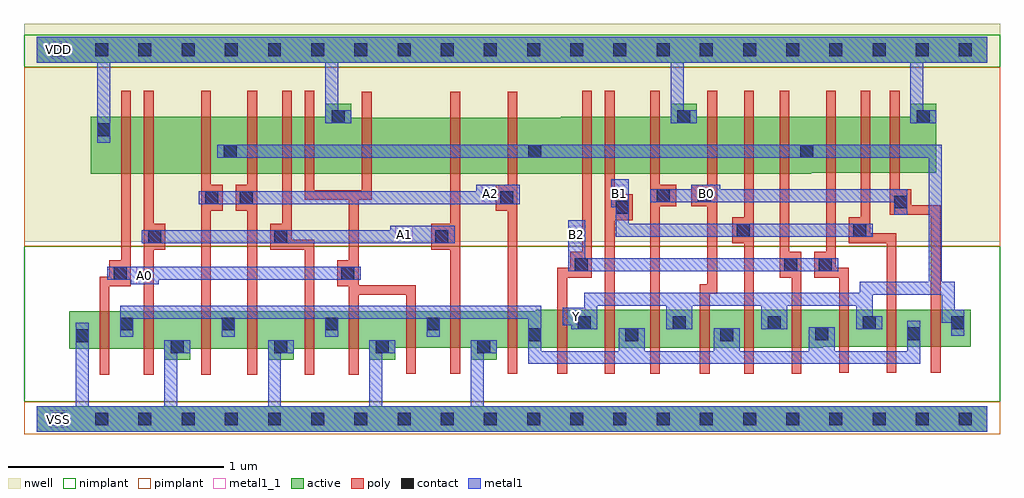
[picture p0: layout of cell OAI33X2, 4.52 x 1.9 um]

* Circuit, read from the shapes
.subckt OAI33X2 A0 A1 A2 B0 B1 B2 VDD VSS Y
M1 n1 A0 VSS VSS nfet w=0.175u l=0.045u m=2
M2 VSS A1 n1 VSS nfet w=0.175u l=0.045u m=2
M3 n1 A2 VSS VSS nfet w=0.175u l=0.045u m=2
M4 n1 A0 VSS VSS nfet w=0.17u l=0.045u
M5 VSS A1 n1 VSS nfet w=0.17u l=0.045u
M6 n1 A2 VSS VSS nfet w=0.17u l=0.045u
M7 Y B2 n1 VSS nfet w=0.175u l=0.045u m=2
M8 n1 B1 Y VSS nfet w=0.175u l=0.045u m=2
M9 Y B0 n1 VSS nfet w=0.175u l=0.045u m=2
M10 Y B2 n1 VSS nfet w=0.17u l=0.045u
M11 n1 B1 Y VSS nfet w=0.17u l=0.045u
M12 Y B0 n1 VSS nfet w=0.17u l=0.045u
M13 n2 A0 VDD VDD pfet w=0.265u l=0.045u
M14 n3 A1 n2 VDD pfet w=0.265u l=0.045u
M15 Y A2 n3 VDD pfet w=0.265u l=0.045u
M16 n4 A2 Y VDD pfet w=0.265u l=0.045u
M17 n5 A1 n4 VDD pfet w=0.265u l=0.045u
M18 VDD A0 n5 VDD pfet w=0.265u l=0.045u
M19 n6 A0 VDD VDD pfet w=0.26u l=0.045u
M20 n7 A1 n6 VDD pfet w=0.26u l=0.045u
M21 Y A2 n7 VDD pfet w=0.26u l=0.045u
M22 n8 B2 Y VDD pfet w=0.265u l=0.045u
M23 n9 B1 n8 VDD pfet w=0.265u l=0.045u
M24 VDD B0 n9 VDD pfet w=0.265u l=0.045u
M25 n10 B0 VDD VDD pfet w=0.265u l=0.045u
M26 n11 B1 n10 VDD pfet w=0.265u l=0.045u
M27 Y B2 n11 VDD pfet w=0.265u l=0.045u
M28 n12 B2 Y VDD pfet w=0.26u l=0.045u
M29 n13 B1 n12 VDD pfet w=0.26u l=0.045u
M30 VDD B0 n13 VDD pfet w=0.26u l=0.045u
.ends

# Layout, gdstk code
import gdstk
lib = gdstk.Library(unit=1e-6, precision=5e-10)
def R(c, l, rs):  # rectangles x0, y0, x1, y1
    for r in rs: c.add(gdstk.rectangle(r[:2], r[2:], *l))
def A(c, l, x, y, w, h, nx, ny, dx, dy):  # array of equal rectangles
    R(c, l, [(x+i*dx, y+j*dy, x+i*dx+w, y+j*dy+h) for i in range(nx) for j in range(ny)])
def P(c, l, *ps):  # polygons
    for p in ps: c.add(gdstk.Polygon(p, *l))
active = (1, 0)
nwell = (2, 0)
poly = (3, 0)
nimplant = (4, 0)
pimplant = (5, 0)
contact = (6, 0)
metal1 = (7, 0)
metal1_1 = (7, 1)

oai33x2 = lib.new_cell('OAI33X2')
R(oai33x2, active, [(0,-0.06,4.4,0.06), (0,1.65,4.4,1.77)])
P(oai33x2, active, [(1.335,1.46),(1.455,1.46),(1.455,1.395),(2.425,1.395),(2.425,1.4),(2.935,1.4),(2.935,1.46),(3.055,1.46),(3.055,1.4),(4.045,1.4),(4.045,1.46),(4.165,1.46),(4.165,1.14),(3.585,1.14),(3.585,1.135),(0.25,1.135),(0.25,1.4),(1.335,1.4)],
  [(2.31,0.505),(4.325,0.505),(4.325,0.335),(3.64,0.335),(3.64,0.33),(2.13,0.33),(2.13,0.275),(2.01,0.275),(2.01,0.33),(1.66,0.33),(1.66,0.275),(1.54,0.275),(1.54,0.325),(1.19,0.325),(1.19,0.275),(1.07,0.275),(1.07,0.325),(0.71,0.325),(0.71,0.275),(0.59,0.275),(0.59,0.325),(0.15,0.325),(0.15,0.5),(2.31,0.5)])
R(oai33x2, nwell, [(-0.06,0.82,4.46,1.83)])
P(oai33x2, poly, [(0.39,1.52),(0.435,1.52),(0.435,0.615),(0.335,0.615),(0.335,0.205),(0.29,0.205),(0.29,0.66),(0.335,0.66),(0.335,0.735),(0.39,0.735)],
  [(0.495,1.52),(0.54,1.52),(0.54,0.905),(0.595,0.905),(0.595,0.785),(0.54,0.785),(0.54,0.205),(0.495,0.205)],
  [(0.76,1.52),(0.805,1.52),(0.805,1.085),(0.86,1.085),(0.86,0.965),(0.805,0.965),(0.805,0.205),(0.76,0.205)],
  [(0.975,1.52),(1.02,1.52),(1.02,0.205),(0.975,0.205),(0.975,0.965),(0.92,0.965),(0.92,1.085),(0.975,1.085)],
  [(1.135,1.52),(1.18,1.52),(1.18,0.83),(1.285,0.83),(1.285,0.205),(1.24,0.205),(1.24,0.785),(1.08,0.785),(1.08,0.905),(1.135,0.905)],
  [(1.24,1.52),(1.285,1.52),(1.285,1.06),(1.505,1.06),(1.505,1.515),(1.55,1.515),(1.55,1.015),(1.49,1.015),(1.49,0.62),(1.755,0.62),(1.755,0.21),(1.71,0.21),(1.71,0.575),(1.49,0.575),(1.49,0.205),(1.445,0.205),(1.445,0.615),(1.39,0.615),(1.39,0.735),(1.445,0.735),(1.445,1.015),(1.24,1.015)],
  [(1.915,1.515),(1.96,1.515),(1.96,0.21),(1.915,0.21),(1.915,0.785),(1.825,0.785),(1.825,0.905),(1.915,0.905)],
  [(2.18,1.515),(2.225,1.515),(2.225,0.21),(2.18,0.21),(2.18,0.965),(2.125,0.965),(2.125,1.085),(2.18,1.085)],
  [(2.525,1.52),(2.57,1.52),(2.57,0.655),(2.455,0.655),(2.455,0.21),(2.41,0.21),(2.41,0.7),(2.47,0.7),(2.47,0.775),(2.525,0.775)],
  [(2.63,1.52),(2.675,1.52),(2.675,1.04),(2.76,1.04),(2.76,0.92),(2.675,0.92),(2.675,0.21),(2.63,0.21)],
  [(2.84,1.52),(2.885,1.52),(2.885,1.085),(2.96,1.085),(2.96,0.985),(2.885,0.985),(2.885,0.21),(2.84,0.21)],
  [(3.105,1.52),(3.15,1.52),(3.15,0.58),(3.115,0.58),(3.115,0.21),(3.07,0.21),(3.07,0.625),(3.105,0.625),(3.105,0.985),(3.03,0.985),(3.03,1.085),(3.105,1.085)],
  [(3.275,1.52),(3.32,1.52),(3.32,0.21),(3.275,0.21),(3.275,0.815),(3.22,0.815),(3.22,0.935),(3.275,0.935)],
  [(3.44,1.52),(3.485,1.52),(3.485,0.775),(3.54,0.775),(3.54,0.21),(3.495,0.21),(3.495,0.655),(3.44,0.655)],
  [(3.655,1.52),(3.7,1.52),(3.7,0.7),(3.76,0.7),(3.76,0.215),(3.715,0.215),(3.715,0.655),(3.6,0.655),(3.6,0.775),(3.655,0.775)],
  [(3.815,1.52),(3.86,1.52),(3.86,0.86),(3.98,0.86),(3.98,0.215),(3.935,0.215),(3.935,0.815),(3.76,0.815),(3.76,0.935),(3.815,0.935)],
  [(3.95,1.52),(3.995,1.52),(3.995,1.065),(4.05,1.065),(4.05,0.99),(4.185,0.99),(4.185,0.215),(4.14,0.215),(4.14,0.945),(3.95,0.945)])
R(oai33x2, nimplant, [(-0.06,0.08,4.46,0.8), (-0.06,1.63,4.46,1.78)])
R(oai33x2, pimplant, [(-0.06,-0.07,4.46,0.08), (-0.06,0.8,4.46,1.63)])
A(oai33x2, contact, 0.07, -0.03, 0.06, 0.06, 22, 2, 0.2, 1.71)
A(oai33x2, contact, 1.1, 0.305, 0.06, 0.06, 3, 1, 0.47, 0)
A(oai33x2, contact, 2.505, 0.415, 0.06, 0.06, 4, 1, 0.44, 0)
R(oai33x2, contact, [(0.62,0.305,0.68,0.365), (0.18,0.355,0.24,0.415), (2.275,0.36,2.335,0.42), (2.725,0.36,2.785,0.42), (3.165,0.36,3.225,0.42), (3.605,0.365,3.665,0.425), (4.03,0.365,4.09,0.425), (0.385,0.41,0.445,0.47), (0.855,0.41,0.915,0.47), (1.335,0.41,1.395,0.47), (1.805,0.41,1.865,0.47), (4.235,0.415,4.295,0.475), (0.355,0.645,0.415,0.705), (1.41,0.645,1.47,0.705), (2.49,0.685,2.55,0.745), (3.46,0.685,3.52,0.745), (3.62,0.685,3.68,0.745), (0.515,0.815,0.575,0.875), (1.1,0.815,1.16,0.875), (1.845,0.815,1.905,0.875), (3.24,0.845,3.3,0.905), (3.78,0.845,3.84,0.905), (2.68,0.95,2.74,1.01), (3.97,0.975,4.03,1.035), (0.78,0.995,0.84,1.055), (0.94,0.995,1,1.055), (2.145,0.995,2.205,1.055), (2.87,1.005,2.93,1.065), (3.06,1.005,3.12,1.065), (0.865,1.21,0.925,1.27), (2.275,1.21,2.335,1.27), (3.535,1.21,3.595,1.27), (0.28,1.31,0.34,1.37), (1.365,1.37,1.425,1.43), (2.965,1.37,3.025,1.43), (4.075,1.37,4.135,1.43)])
P(oai33x2, metal1, [(0,1.77),(4.4,1.77),(4.4,1.65),(4.105,1.65),(4.105,1.43),(4.165,1.43),(4.165,1.37),(4.045,1.37),(4.045,1.65),(2.995,1.65),(2.995,1.43),(3.055,1.43),(3.055,1.37),(2.935,1.37),(2.935,1.65),(1.395,1.65),(1.395,1.43),(1.455,1.43),(1.455,1.37),(1.335,1.37),(1.335,1.65),(0.34,1.65),(0.34,1.28),(0.28,1.28),(0.28,1.65),(0,1.65)],
  [(0.835,1.27),(4.19,1.27),(4.19,0.635),(4.25,0.635),(4.25,0.505),(4.295,0.505),(4.295,0.385),(4.235,0.385),(4.235,0.445),(4.19,0.445),(4.19,0.575),(3.87,0.575),(3.87,0.475),(3.915,0.475),(3.915,0.415),(3.795,0.415),(3.795,0.525),(3.475,0.525),(3.475,0.415),(3.355,0.415),(3.355,0.525),(3.035,0.525),(3.035,0.415),(2.915,0.415),(2.915,0.525),(2.595,0.525),(2.595,0.415),(2.475,0.415),(2.475,0.435),(2.435,0.435),(2.435,0.515),(2.535,0.515),(2.535,0.585),(3.81,0.585),(3.81,0.635),(4.13,0.635),(4.13,1.21),(0.835,1.21)],
  [(2.66,1.11),(2.74,1.11),(2.74,0.905),(3.87,0.905),(3.87,0.845),(2.68,0.845),(2.68,0.98),(2.66,0.98)],
  [(2.035,1.085),(2.235,1.085),(2.235,0.995),(0.75,0.995),(0.75,1.055),(2.035,1.055)],
  [(3.03,1.085),(3.165,1.085),(3.165,1.065),(4.03,1.065),(4.03,0.945),(3.97,0.945),(3.97,1.005),(2.84,1.005),(2.84,1.065),(3.03,1.065)],
  [(2.46,0.92),(2.54,0.92),(2.54,0.745),(3.71,0.745),(3.71,0.685),(2.46,0.685)],
  [(1.635,0.895),(1.935,0.895),(1.935,0.815),(0.485,0.815),(0.485,0.875),(1.635,0.875)],
  [(0.325,0.705),(1.5,0.705),(1.5,0.645),(0.565,0.645),(0.565,0.625),(0.435,0.625),(0.435,0.645),(0.325,0.645)],
  [(0.18,0.445),(0.24,0.445),(0.24,0.06),(0.59,0.06),(0.59,0.365),(0.71,0.365),(0.71,0.305),(0.65,0.305),(0.65,0.06),(1.07,0.06),(1.07,0.365),(1.19,0.365),(1.19,0.305),(1.13,0.305),(1.13,0.06),(1.54,0.06),(1.54,0.365),(1.66,0.365),(1.66,0.305),(1.6,0.305),(1.6,0.06),(2.01,0.06),(2.01,0.365),(2.13,0.365),(2.13,0.305),(2.07,0.305),(2.07,0.06),(4.4,0.06),(4.4,-0.06),(0,-0.06),(0,0.06),(0.18,0.06)],
  [(0.385,0.525),(2.335,0.525),(2.335,0.315),(2.695,0.315),(2.695,0.42),(2.815,0.42),(2.815,0.315),(3.135,0.315),(3.135,0.42),(3.255,0.42),(3.255,0.315),(3.575,0.315),(3.575,0.425),(3.695,0.425),(3.695,0.315),(4.03,0.315),(4.03,0.455),(4.09,0.455),(4.09,0.255),(2.275,0.255),(2.275,0.465),(1.865,0.465),(1.865,0.38),(1.805,0.38),(1.805,0.465),(1.395,0.465),(1.395,0.38),(1.335,0.38),(1.335,0.465),(0.915,0.465),(0.915,0.38),(0.855,0.38),(0.855,0.465),(0.445,0.465),(0.445,0.38),(0.385,0.38)])
R(oai33x2, metal1_1, [(0.06,-0.04,0.14,0.04), (2.46,0.435,2.54,0.515), (0.46,0.625,0.54,0.705), (1.66,0.815,1.74,0.895), (2.46,0.815,2.54,0.895), (2.06,1.005,2.14,1.085), (2.66,1.005,2.74,1.085), (3.06,1.005,3.14,1.085), (0.06,1.67,0.14,1.75)])
oai33x2.add(gdstk.Label('B0', (3.1,1.045), layer=7, texttype=1))
oai33x2.add(gdstk.Label('A2', (2.1,1.045), layer=7, texttype=1))
oai33x2.add(gdstk.Label('B1', (2.7,1.045), layer=7, texttype=1))
oai33x2.add(gdstk.Label('A1', (1.7,0.855), layer=7, texttype=1))
oai33x2.add(gdstk.Label('B2', (2.5,0.855), layer=7, texttype=1))
oai33x2.add(gdstk.Label('A0', (0.5,0.665), layer=7, texttype=1))
oai33x2.add(gdstk.Label('Y', (2.5,0.475), layer=7, texttype=1))
oai33x2.add(gdstk.Label('VDD', (0.1,1.71), layer=7, texttype=1))
oai33x2.add(gdstk.Label('VSS', (0.1,0), layer=7, texttype=1))
oai33x2.add(gdstk.Label('OAI33X2', (0,0), layer=63, texttype=0))

lib.write_gds('OAI33X2.gds')
